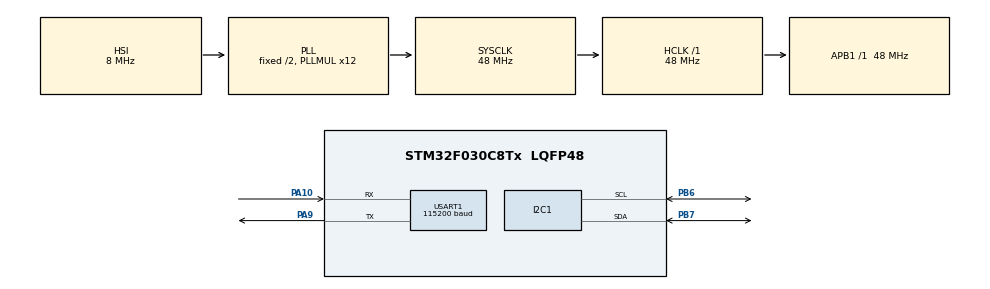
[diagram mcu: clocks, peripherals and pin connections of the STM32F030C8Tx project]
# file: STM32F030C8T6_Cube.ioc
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Dma.I2C1_RX.0.Direction=DMA_PERIPH_TO_MEMORY
Dma.I2C1_RX.0.Instance=DMA1_Channel3
Dma.I2C1_RX.0.MemDataAlignment=DMA_MDATAALIGN_BYTE
Dma.I2C1_RX.0.MemInc=DMA_MINC_ENABLE
Dma.I2C1_RX.0.Mode=DMA_NORMAL
Dma.I2C1_RX.0.PeriphDataAlignment=DMA_PDATAALIGN_BYTE
Dma.I2C1_RX.0.PeriphInc=DMA_PINC_DISABLE
Dma.I2C1_RX.0.Priority=DMA_PRIORITY_LOW
Dma.I2C1_TX.1.Direction=DMA_MEMORY_TO_PERIPH
Dma.I2C1_TX.1.Instance=DMA1_Channel2
Dma.I2C1_TX.1.MemDataAlignment=DMA_MDATAALIGN_BYTE
Dma.I2C1_TX.1.MemInc=DMA_MINC_ENABLE
Dma.I2C1_TX.1.Mode=DMA_NORMAL
Dma.I2C1_TX.1.PeriphDataAlignment=DMA_PDATAALIGN_BYTE
Dma.I2C1_TX.1.PeriphInc=DMA_PINC_DISABLE
Dma.I2C1_TX.1.Priority=DMA_PRIORITY_LOW
Dma.Request0=I2C1_RX
Dma.Request1=I2C1_TX
I2C1.I2C_Fall_Time=100
I2C1.I2C_Rise_Time=400
I2C1.OwnAddress=10
I2C1.Timing=0x00501D28
Mcu.Family=STM32F0
Mcu.Name=STM32F030C8Tx
Mcu.Package=LQFP48
NVIC.DMA1_Channel2_3_IRQn=true\:0\:0\:false\:false\:true
NVIC.I2C1_IRQn=true\:0\:0\:false\:false\:true
NVIC.USART1_IRQn=true\:0\:0\:false\:false\:true
PA10.Mode=Asynchronous
PA10.Signal=USART1_RX
PA13.Mode=Serial_Wire
PA13.Signal=SYS_SWDIO
PA14.Mode=Serial_Wire
PA14.Signal=SYS_SWCLK
PA9.Mode=Asynchronous
PA9.Signal=USART1_TX
PB6.Mode=I2C
PB6.Signal=I2C1_SCL
PB7.Mode=I2C
PB7.Signal=I2C1_SDA
PF0-OSC_IN.Mode=HSE-External-Oscillator
PF0-OSC_IN.Signal=RCC_OSC_IN
PF1-OSC_OUT.Mode=HSE-External-Oscillator
PF1-OSC_OUT.Signal=RCC_OSC_OUT
ProjectManager.HeapSize=0x800
ProjectManager.StackSize=0x400
ProjectManager.TargetToolchain=EWARM
RCC.AHBFreq_Value=48000000
RCC.APB1Freq_Value=48000000
RCC.APB1TimFreq_Value=48000000
RCC.HCLKFreq_Value=48000000
RCC.PLLMUL=RCC_PLL_MUL12
RCC.SYSCLKFreq_VALUE=48000000
RCC.SYSCLKSource=RCC_SYSCLKSOURCE_PLLCLK
USART1.BaudRate=115200
board=STM32F030C8T6_Cube

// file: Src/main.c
/**
  ******************************************************************************
  * File Name          : main.c
  * Description        : Main program body
  ******************************************************************************
  *
  * COPYRIGHT(c) 2016 STMicroelectronics
  *
  * Redistribution and use in source and binary forms, with or without modification,
  * are permitted provided that the following conditions are met:
  *   1. Redistributions of source code must retain the above copyright notice,
  *      this list of conditions and the following disclaimer.
  *   2. Redistributions in binary form must reproduce the above copyright notice,
  *      this list of conditions and the following disclaimer in the documentation
  *      and/or other materials provided with the distribution.
  *   3. Neither the name of STMicroelectronics nor the names of its contributors
  *      may be used to endorse or promote products derived from this software
  *      without specific prior written permission.
  *
  * THIS SOFTWARE IS PROVIDED BY THE COPYRIGHT HOLDERS AND CONTRIBUTORS "AS IS"
  * AND ANY EXPRESS OR IMPLIED WARRANTIES, INCLUDING, BUT NOT LIMITED TO, THE
  * IMPLIED WARRANTIES OF MERCHANTABILITY AND FITNESS FOR A PARTICULAR PURPOSE ARE
  * DISCLAIMED. IN NO EVENT SHALL THE COPYRIGHT HOLDER OR CONTRIBUTORS BE LIABLE
  * FOR ANY DIRECT, INDIRECT, INCIDENTAL, SPECIAL, EXEMPLARY, OR CONSEQUENTIAL
  * DAMAGES (INCLUDING, BUT NOT LIMITED TO, PROCUREMENT OF SUBSTITUTE GOODS OR
  * SERVICES; LOSS OF USE, DATA, OR PROFITS; OR BUSINESS INTERRUPTION) HOWEVER
  * CAUSED AND ON ANY THEORY OF LIABILITY, WHETHER IN CONTRACT, STRICT LIABILITY,
  * OR TORT (INCLUDING NEGLIGENCE OR OTHERWISE) ARISING IN ANY WAY OUT OF THE USE
  * OF THIS SOFTWARE, EVEN IF ADVISED OF THE POSSIBILITY OF SUCH DAMAGE.
  *
  ******************************************************************************
  */
#include "main.h"
#include "stm32f0xx_hal.h"
#include "dma.h"
#include "i2c.h"
#include "usart.h"
#include "gpio.h"

/* USER CODE BEGIN Includes */
#include "TaskTimeManager.h"
#include "ComBuff.h"
#include "ProtocolFrame.h"
#include "ProtocolHandle.h"

/* USER CODE END Includes */

/* USER CODE BEGIN PV */
/* Private variables ---------------------------------------------------------*/

/* USER CODE END PV */

void SystemClock_Config(void);
void Error_Handler(void);

/* USER CODE BEGIN PFP */
/* Private function prototypes -----------------------------------------------*/

/* USER CODE END PFP */

/* USER CODE BEGIN 0 */
uint8_t rdata[10] = {0};
void LED_TEST(void){
  static uint8_t seq = 0;
//  uint8_t data[100] = "123456\r\n";
//  Uart1_DMA_Sender.Write(&Uart1_DMA_Sender, data, 8);
//  memset(data, 0, 8);
  //PRINT_HEAP();
  printf("LED_TEST:%d\r\n", seq++);
}

typedef enum{NONE, RX_WAIT,RX_DONE, TX_WAIT, TX_DONE}I2C_STATE;
I2C_STATE state = NONE;
//void HAL_I2C_SlaveTxCpltCallback(I2C_HandleTypeDef *hi2c){
//  printf("发送:%X\r\n", rdata);
//  state = TX_DONE;
//}

void HAL_I2C_SlaveRxCpltCallback(I2C_HandleTypeDef *hi2c){
  printf("收到:%X\r\n", rdata[0]);
  HAL_I2C_Slave_Receive_DMA(&hi2c1, rdata, 1 );
  ProtocolResolver_1->Protocol_Put(ProtocolResolver_1,rdata, 1);
//  HAL_I2C_Slave_Receive_DMA(&hi2c1, &data, 1);
//  printf("发送:%X\r\n", data);
//  HAL_I2C_Slave_Transmit_DMA(&hi2c1, &data, 1);
}

//持续传输发送者缓冲区中的缓冲数据
void SenderKeepTransmit(void){
  //Uart1_DMA_Sender.KeepTransmit(&Uart1_DMA_Sender);
}

void PaddingProtocol(void){
	#define BUFFSIZE 100
	int8_t cnt = 0;
	uint8_t data[BUFFSIZE] = {0};
	#if UART1_PROTOCOL_RESOLVER && UART1_DMA_RECEIVER
    if((cnt = Uart1_DMA_Receiver.ReadTo(&Uart1_DMA_Receiver,0xf8,data,BUFFSIZE))>0)
      UART1_Resolver->Protocol_Put(UART1_Resolver,data,cnt);
  #endif
	#if UART2_PROTOCOL_RESOLVER && UART2_DMA_RECEIVER
		if((cnt = Uart2_DMA_Receiver.ReadTo(&Uart2_DMA_Receiver,0xf8,data,BUFFSIZE))>0)
			UART2_Resolver->Protocol_Put(UART2_Resolver,data,cnt);
	#endif
	#if UART3_PROTOCOL_RESOLVER && UART3_DMA_RECEIVER
		if((cnt = Uart3_DMA_Receiver.ReadTo(&Uart3_DMA_Receiver,0xf8,data,BUFFSIZE))>0)
			UART3_Resolver->Protocol_Put(UART3_Resolver,data,cnt);
	#endif
	#if UART4_PROTOCOL_RESOLVER && UART4_DMA_RECEIVER
		if((cnt = Uart4_DMA_Receiver.ReadTo(&Uart4_DMA_Receiver,0xf8,data,BUFFSIZE))>0)
			UART4_Resolver->Protocol_Put(UART4_Resolver,data,cnt);
	#endif
}

/* USER CODE END 0 */

int main(void)
{

  /* MCU Configuration----------------------------------------------------------*/

  /* Reset of all peripherals, Initializes the Flash interface and the Systick. */
  HAL_Init();

  /* Configure the system clock */
  SystemClock_Config();

  /* Initialize all configured peripherals */
  MX_GPIO_Init();
  MX_DMA_Init();
  MX_USART1_UART_Init();
  MX_I2C1_Init();

  /* USER CODE BEGIN 2 */
  TaskTime_Init();
  ProtocolFrame_Init();
  Log_Init();
  ComBuff_Init();

  HAL_I2C_Slave_Receive_DMA(&hi2c1, rdata, 1);

  TaskTime_Add(TaskID++, TimeCycle(0,500), LED_TEST, Count_Mode);
//  TaskTime_Add(TaskID++, TimeCycle(0,30), SenderKeepTransmit, Count_Mode);
  TaskTime_Add(TaskID++, TimeCycle(0,30), PaddingProtocol, Count_Mode);
	TaskTime_Add(TaskID++, TimeCycle(0,30), FetchProtocols, Count_Mode);
  /* USER CODE END 2 */

  /* Infinite loop */
  while (1)
  {

  /* USER CODE BEGIN 3 */
    TaskTime_Run();

  }
  /* USER CODE END 3 */

}

/** System Clock Configuration
*/
void SystemClock_Config(void)
{

  RCC_OscInitTypeDef RCC_OscInitStruct;
  RCC_ClkInitTypeDef RCC_ClkInitStruct;
  RCC_PeriphCLKInitTypeDef PeriphClkInit;

    /**Initializes the CPU, AHB and APB busses clocks
    */
  RCC_OscInitStruct.OscillatorType = RCC_OSCILLATORTYPE_HSI;
  RCC_OscInitStruct.HSIState = RCC_HSI_ON;
  RCC_OscInitStruct.HSICalibrationValue = 16;
  RCC_OscInitStruct.PLL.PLLState = RCC_PLL_ON;
  RCC_OscInitStruct.PLL.PLLSource = RCC_PLLSOURCE_HSI;
  RCC_OscInitStruct.PLL.PLLMUL = RCC_PLL_MUL12;
  RCC_OscInitStruct.PLL.PREDIV = RCC_PREDIV_DIV1;
  if (HAL_RCC_OscConfig(&RCC_OscInitStruct) != HAL_OK)
  {
    Error_Handler();
  }

    /**Initializes the CPU, AHB and APB busses clocks
    */
  RCC_ClkInitStruct.ClockType = RCC_CLOCKTYPE_HCLK|RCC_CLOCKTYPE_SYSCLK
                              |RCC_CLOCKTYPE_PCLK1;
  RCC_ClkInitStruct.SYSCLKSource = RCC_SYSCLKSOURCE_PLLCLK;
  RCC_ClkInitStruct.AHBCLKDivider = RCC_SYSCLK_DIV1;
  RCC_ClkInitStruct.APB1CLKDivider = RCC_HCLK_DIV1;

  if (HAL_RCC_ClockConfig(&RCC_ClkInitStruct, FLASH_LATENCY_1) != HAL_OK)
  {
    Error_Handler();
  }

  PeriphClkInit.PeriphClockSelection = RCC_PERIPHCLK_USART1|RCC_PERIPHCLK_I2C1;
  PeriphClkInit.Usart1ClockSelection = RCC_USART1CLKSOURCE_PCLK1;
  PeriphClkInit.I2c1ClockSelection = RCC_I2C1CLKSOURCE_HSI;
  if (HAL_RCCEx_PeriphCLKConfig(&PeriphClkInit) != HAL_OK)
  {
    Error_Handler();
  }

    /**Configure the Systick interrupt time
    */
  HAL_SYSTICK_Config(HAL_RCC_GetHCLKFreq()/1000);

    /**Configure the Systick
    */
  HAL_SYSTICK_CLKSourceConfig(SYSTICK_CLKSOURCE_HCLK);

  /* SysTick_IRQn interrupt configuration */
  HAL_NVIC_SetPriority(SysTick_IRQn, 0, 0);
}

void Error_Handler(void)
{
  while(1)
  {
  }
}

/************************ (C) COPYRIGHT STMicroelectronics *****END OF FILE****/
